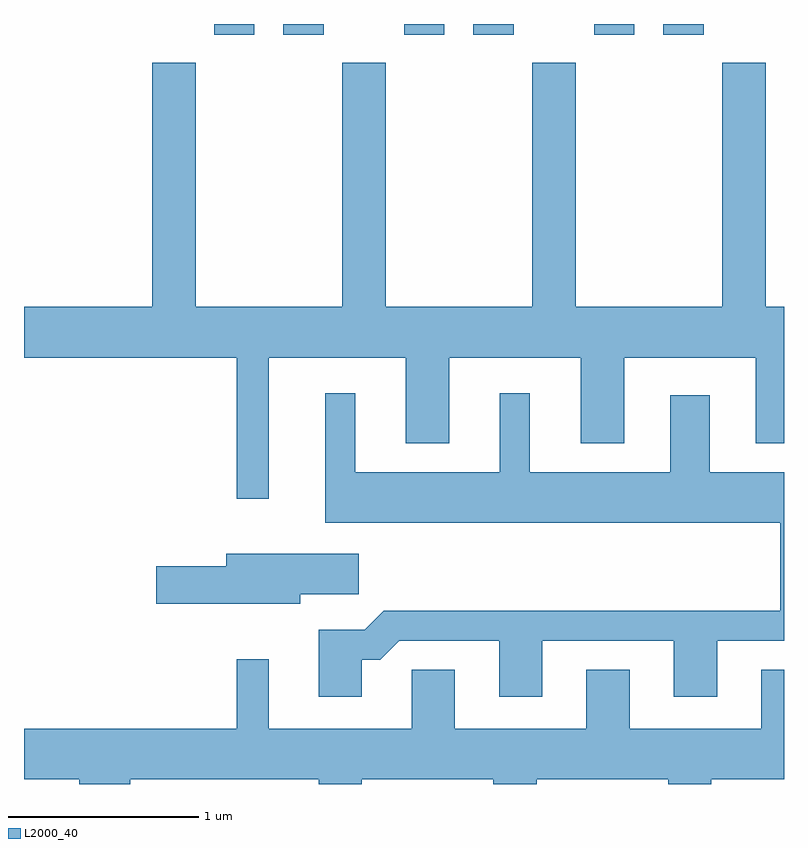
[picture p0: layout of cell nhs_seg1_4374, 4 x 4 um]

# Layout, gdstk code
import gdstk
lib = gdstk.Library(unit=1e-6, precision=1e-09)
def R(c, l, rs):  # rectangles x0, y0, x1, y1
    for r in rs: c.add(gdstk.rectangle(r[:2], r[2:], *l))
def P(c, l, *ps):  # polygons
    for p in ps: c.add(gdstk.Polygon(p, *l))
L2000_40 = (2000, 40)

nhs_seg1_4374 = lib.new_cell('nhs_seg1_4374')
R(nhs_seg1_4374, L2000_40, [(316.611,965.656,316.824,965.712), (316.976,965.656,317.189,965.712), (317.611,965.656,317.824,965.712), (317.976,965.656,318.189,965.712), (318.611,965.656,318.824,965.712), (318.976,965.656,319.189,965.712)])
P(nhs_seg1_4374, L2000_40, [(317.621,963.506),(317.849,963.506),(317.849,963.956),(318.541,963.956),(318.541,963.506),(318.769,963.506),(318.769,963.956),(319.461,963.956),(319.461,963.506),(319.611,963.506),(319.611,964.224),(319.514,964.224),(319.514,965.509),(319.286,965.509),(319.286,964.224),(318.514,964.224),(318.514,965.509),(318.286,965.509),(318.286,964.224),(317.514,964.224),(317.514,965.509),(317.286,965.509),(317.286,964.224),(316.514,964.224),(316.514,965.509),(316.286,965.509),(316.286,964.224),(315.611,964.224),(315.611,963.956),(316.731,963.956),(316.731,963.213),(316.899,963.213),(316.899,963.956),(317.621,963.956)],
  [(317.389,962.366),(317.487,962.366),(317.587,962.466),(318.111,962.466),(318.111,962.171),(318.339,962.171),(318.339,962.466),(319.031,962.466),(319.031,962.171),(319.259,962.171),(319.259,962.466),(319.611,962.466),(319.611,963.354),(319.219,963.354),(319.219,963.759),(319.011,963.759),(319.011,963.354),(318.274,963.354),(318.274,963.768),(318.116,963.768),(318.116,963.354),(317.354,963.354),(317.354,963.768),(317.196,963.768),(317.196,963.086),(319.591,963.086),(319.591,962.624),(317.504,962.624),(317.404,962.524),(317.161,962.524),(317.161,962.171),(317.389,962.171)],
  [(317.064,962.711),(317.374,962.711),(317.374,962.924),(316.676,962.924),(316.676,962.859),(316.306,962.859),(316.306,962.661),(317.064,962.661)],
  [(316.169,961.736),(317.161,961.736),(317.161,961.712),(317.389,961.712),(317.389,961.736),(318.081,961.736),(318.081,961.712),(318.309,961.712),(318.309,961.736),(319.001,961.736),(319.001,961.712),(319.229,961.712),(319.229,961.736),(319.611,961.736),(319.611,962.314),(319.491,962.314),(319.491,962.004),(318.799,962.004),(318.799,962.314),(318.571,962.314),(318.571,962.004),(317.879,962.004),(317.879,962.314),(317.651,962.314),(317.651,962.004),(316.899,962.004),(316.899,962.368),(316.731,962.368),(316.731,962.004),(315.611,962.004),(315.611,961.736),(315.901,961.736),(315.901,961.712),(316.169,961.712)])

lib.write_gds('nhs_seg1_4374.gds')
